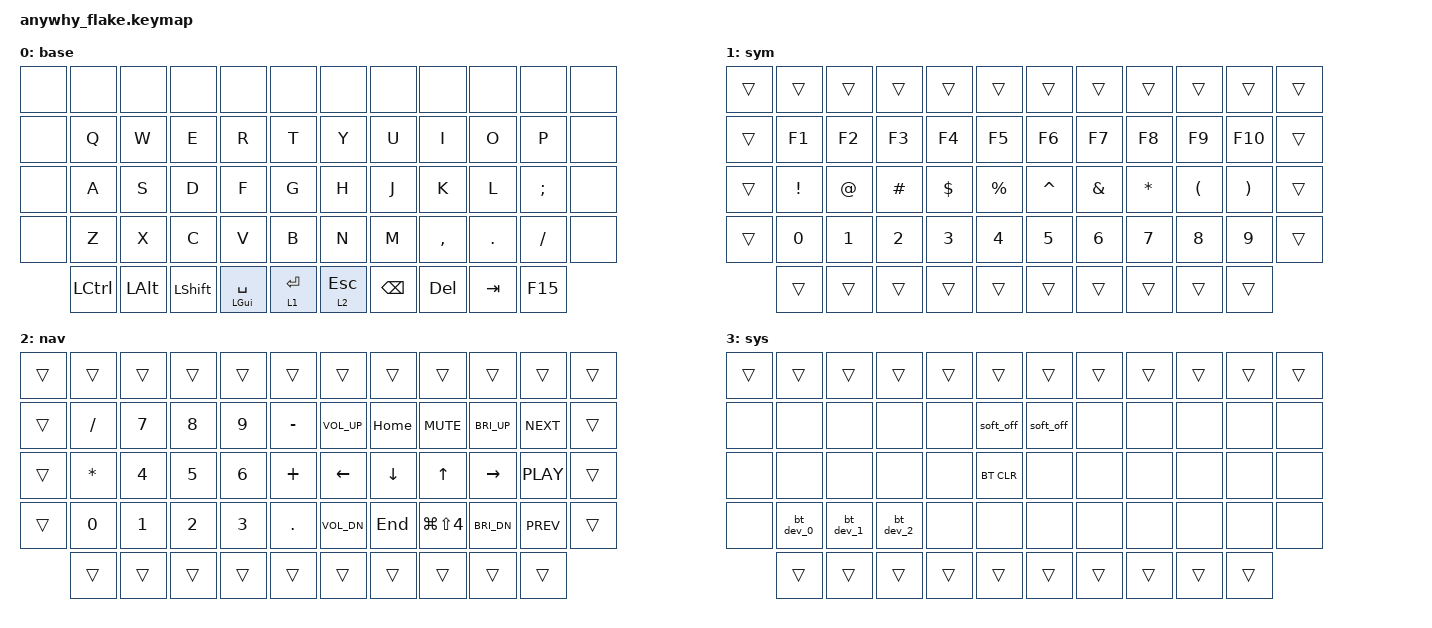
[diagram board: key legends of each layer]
#include <behaviors.dtsi>
#include <dt-bindings/zmk/bt.h>
#include <dt-bindings/zmk/keys.h>

&lt { quick-tap-ms = <200>; };

&mt {
    quick-tap-ms = <200>;
    flavor = "tap-preferred";
};

/ {
    combos {
        compatible = "zmk,combos";

        lbkt {
            bindings = <&kp LBKT>;
            key-positions = <28 29>;
            layers = <0>;
            timeout-ms = <25>;
        };

        rbkt {
            bindings = <&kp RBKT>;
            key-positions = <30 31>;
            layers = <0>;
            timeout-ms = <25>;
        };

        lpar {
            bindings = <&kp LPAR>;
            key-positions = <16 17>;
            layers = <0>;
            timeout-ms = <25>;
        };

        rpar {
            bindings = <&kp RPAR>;
            key-positions = <18 19>;
            layers = <0>;
            timeout-ms = <25>;
        };

        lbrc {
            bindings = <&kp LBRC>;
            key-positions = <40 41>;
            layers = <0>;
            timeout-ms = <25>;
        };

        rbrc {
            bindings = <&kp RBRC>;
            key-positions = <43 42>;
            layers = <0>;
            timeout-ms = <25>;
        };

        return {
            bindings = <&kp ENTER>;
            key-positions = <33 32 31>;
            layers = <0>;
            timeout-ms = <25>;
        };

        escape {
            bindings = <&kp ESC>;
            key-positions = <28 27 26>;
            layers = <0>;
            timeout-ms = <25>;
        };

        sqt {
            bindings = <&kp SQT>;
            key-positions = <27 28>;
            layers = <0>;
            timeout-ms = <25>;
        };

        dqt {
            bindings = <&kp DQT>;
            key-positions = <32 31>;
            layers = <0>;
            timeout-ms = <25>;
        };

        minus {
            bindings = <&kp MINUS>;
            key-positions = <15 16>;
            layers = <0>;
            timeout-ms = <25>;
        };

        underscore {
            bindings = <&kp UNDERSCORE>;
            key-positions = <20 19>;
            layers = <0>;
            timeout-ms = <25>;
        };

        plus {
            bindings = <&kp PLUS>;
            key-positions = <14 15>;
            layers = <0>;
            timeout-ms = <25>;
        };

        equal {
            bindings = <&kp EQUAL>;
            key-positions = <21 20>;
            layers = <0>;
            timeout-ms = <25>;
        };

        grave {
            bindings = <&kp GRAVE>;
            key-positions = <27 26>;
            layers = <0>;
            timeout-ms = <25>;
        };

        tab {
            bindings = <&kp TAB>;
            key-positions = <16 15 14>;
            layers = <0>;
            timeout-ms = <25>;
        };

        bslh {
            bindings = <&kp BSLH>;
            key-positions = <46 34>;
            layers = <0>;
            timeout-ms = <25>;
        };

        clrall {
            bindings = <&bt BT_CLR_ALL>;
            key-positions = <13 14 15 16>;
            timeout-ms = <25>;
            layers = <3>;
        };

        rclrall {
            bindings = <&bt BT_CLR_ALL>;
            key-positions = <22 21 20 19>;
            timeout-ms = <25>;
            layers = <3>;
        };

        comma {
            bindings = <&kp LC(LA(COMMA))>;
            key-positions = <43 44>;
            layers = <0>;
            timeout-ms = <25>;
        };

        stop {
            bindings = <&kp LA(LC(DOT))>;
            key-positions = <45 44>;
            layers = <0>;
            timeout-ms = <25>;
        };
    };

    macros {
        bt_dev_0: bt_dev_0 {
            compatible = "zmk,behavior-macro";
            #binding-cells = <0>;
            bindings = <&bt BT_DISC 0 &bt BT_DISC 1 &bt BT_DISC 2 &bt BT_SEL 0>;
            label = "BT_DEV_0";
        };

        bt_dev_1: bt_dev_1 {
            compatible = "zmk,behavior-macro";
            #binding-cells = <0>;
            bindings = <&bt BT_DISC 0 &bt BT_DISC 1 &bt BT_DISC 2 &bt BT_SEL 1>;
            label = "BT_DEV_1";
        };

        bt_dev_2: bt_dev_2 {
            compatible = "zmk,behavior-macro";
            #binding-cells = <0>;
            bindings = <&bt BT_DISC 0 &bt BT_DISC 1 &bt BT_DISC 2 &bt BT_SEL 2>;
            label = "BT_DEV_2";
        };
    };

    keymap {
        compatible = "zmk,keymap";

        base {
            bindings = <
&none  &none      &none     &none       &none           &none           &none      &none          &none       &none    &none     &none
&none  &kp Q      &kp W     &kp E       &kp R           &kp T           &kp Y      &kp U          &kp I       &kp O    &kp P     &none
&none  &kp A      &kp S     &kp D       &kp F           &kp G           &kp H      &kp J          &kp K       &kp L    &kp SEMI  &none
&none  &kp Z      &kp X     &kp C       &kp V           &kp B           &kp N      &kp M          &kp COMMA   &kp DOT  &kp FSLH  &none
       &kp LCTRL  &kp LALT  &kp LSHIFT  &mt LGUI SPACE  &lt 1 RETURN    &lt 2 ESC  &kp BACKSPACE  &kp DELETE  &kp TAB  &kp F15
            >;
        };

        sym {
            bindings = <
&trans  &trans    &trans  &trans    &trans    &trans       &trans     &trans    &trans    &trans    &trans    &trans
&trans  &kp F1    &kp F2  &kp F3    &kp F4    &kp F5       &kp F6     &kp F7    &kp F8    &kp F9    &kp F10   &trans
&trans  &kp EXCL  &kp AT  &kp HASH  &kp DLLR  &kp PRCNT    &kp CARET  &kp AMPS  &kp STAR  &kp LPAR  &kp RPAR  &trans
&trans  &kp N0    &kp N1  &kp N2    &kp N3    &kp N4       &kp N5     &kp N6    &kp N7    &kp N8    &kp N9    &trans
        &trans    &trans  &trans    &trans    &trans       &trans     &trans    &trans    &trans    &trans
            >;
        };

        nav {
            bindings = <
&trans  &trans     &trans  &trans  &trans  &trans       &trans        &trans    &trans                &trans        &trans      &trans
&trans  &kp SLASH  &kp N7  &kp N8  &kp N9  &kp MINUS    &kp C_VOL_UP  &kp HOME  &kp C_MUTE            &kp C_BRI_UP  &kp C_NEXT  &trans
&trans  &kp STAR   &kp N4  &kp N5  &kp N6  &kp PLUS     &kp LEFT      &kp DOWN  &kp UP                &kp RIGHT     &kp C_PLAY  &trans
&trans  &kp N0     &kp N1  &kp N2  &kp N3  &kp DOT      &kp C_VOL_DN  &kp END   &kp LG(LS(NUMBER_4))  &kp C_BRI_DN  &kp C_PREV  &trans
        &trans     &trans  &trans  &trans  &trans       &trans        &trans    &trans                &trans        &trans
            >;
        };

        sys {
            bindings = <
&trans  &trans     &trans     &trans     &trans  &trans        &trans     &trans  &trans  &trans  &trans  &trans
&none   &none      &none      &none      &none   &soft_off     &soft_off  &none   &none   &none   &none   &none
&none   &none      &none      &none      &none   &bt BT_CLR    &none      &none   &none   &none   &none   &none
&none   &bt_dev_0  &bt_dev_1  &bt_dev_2  &none   &none         &none      &none   &none   &none   &none   &none
        &trans     &trans     &trans     &trans  &trans        &trans     &trans  &trans  &trans  &trans
            >;
        };
    };

    conditional_layers {
        compatible = "zmk,conditional-layers";

        to_sys {
            if-layers = <1 2>;
            then-layer = <3>;
        };
    };
};
